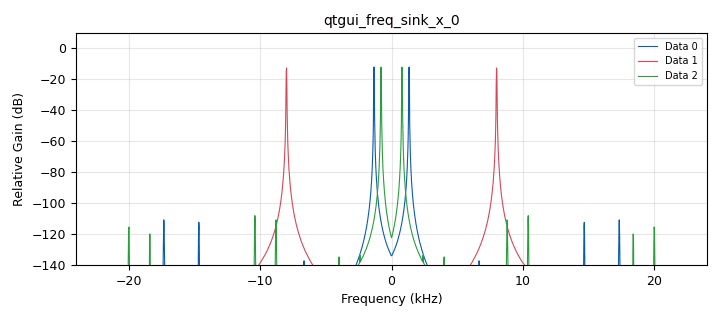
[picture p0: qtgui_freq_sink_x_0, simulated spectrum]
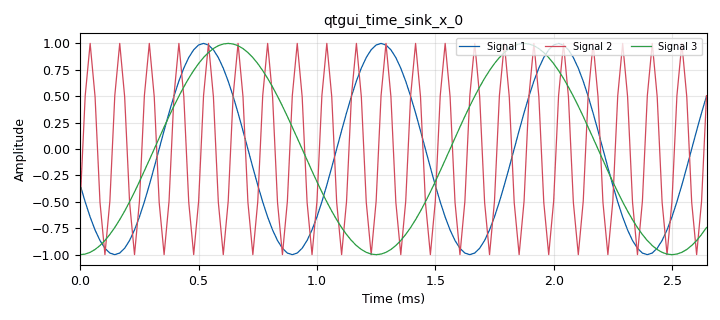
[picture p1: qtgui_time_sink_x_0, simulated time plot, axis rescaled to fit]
options:
  parameters:
    author: Brayan_Martinez_William_Ariza_Andres_Perdomo_J1C_G5
    generate_options: qt_gui
    id: Lab1_punto5
    output_language: python
    title: Lab_1_punto5_interpolado
  states: {}

blocks:
- name: freq
  id: variable_qtgui_range
  parameters:
    label: frequency
    start: '1000'
    step: '1000'
    stop: '40000'
    value: '4000'
  states: {}
- name: samp_rate
  id: variable
  parameters:
    value: '48000'
  states: {}
- name: analog_sig_source_x_0
  id: analog_sig_source_x
  parameters:
    amp: '1'
    freq: freq
    offset: '0'
    phase: '0'
    samp_rate: samp_rate
    type: float
    waveform: analog.GR_COS_WAVE
  states: {}
- name: analog_sig_source_x_1
  id: analog_sig_source_x
  parameters:
    amp: '1'
    freq: freq
    offset: '0'
    phase: '0'
    samp_rate: samp_rate
    type: float
    waveform: analog.GR_COS_WAVE
  states: {}
- name: analog_sig_source_x_1_0
  id: analog_sig_source_x
  parameters:
    amp: '1'
    freq: freq
    offset: '0'
    phase: '0'
    samp_rate: samp_rate
    type: float
    waveform: analog.GR_COS_WAVE
  states: {}
- name: blocks_throttle_0
  id: blocks_throttle
  parameters:
    samples_per_second: samp_rate
    type: float
  states: {}
- name: qtgui_freq_sink_x_0
  id: qtgui_freq_sink_x
  parameters:
    average: '0.05'
    bw: samp_rate
    fc: '0'
    fftsize: '2048'
    nconnections: '3'
    type: float
    wintype: window.WIN_HANN
  states: {}
- name: qtgui_time_sink_x_0
  id: qtgui_time_sink_x
  parameters:
    nconnections: '3'
    size: '128'
    srate: samp_rate
    type: float
  states: {}
- name: rational_resampler_xxx_0
  id: rational_resampler_xxx
  parameters:
    decim: '2'
    interp: '6'
    type: fff
  states: {}
- name: rational_resampler_xxx_0_0
  id: rational_resampler_xxx
  parameters:
    decim: '4'
    interp: '2'
    type: fff
  states: {}
- name: rational_resampler_xxx_0_0_0
  id: rational_resampler_xxx
  parameters:
    decim: '1'
    interp: '5'
    type: fff
  states: {}

connections:
- [analog_sig_source_x_0, '0', rational_resampler_xxx_0, '0']
- [analog_sig_source_x_1, '0', rational_resampler_xxx_0_0, '0']
- [analog_sig_source_x_1_0, '0', rational_resampler_xxx_0_0_0, '0']
- [blocks_throttle_0, '0', qtgui_freq_sink_x_0, '0']
- [blocks_throttle_0, '0', qtgui_time_sink_x_0, '0']
- [rational_resampler_xxx_0, '0', blocks_throttle_0, '0']
- [rational_resampler_xxx_0_0, '0', qtgui_freq_sink_x_0, '1']
- [rational_resampler_xxx_0_0, '0', qtgui_time_sink_x_0, '1']
- [rational_resampler_xxx_0_0_0, '0', qtgui_freq_sink_x_0, '2']
- [rational_resampler_xxx_0_0_0, '0', qtgui_time_sink_x_0, '2']

metadata:
  file_format: 1
